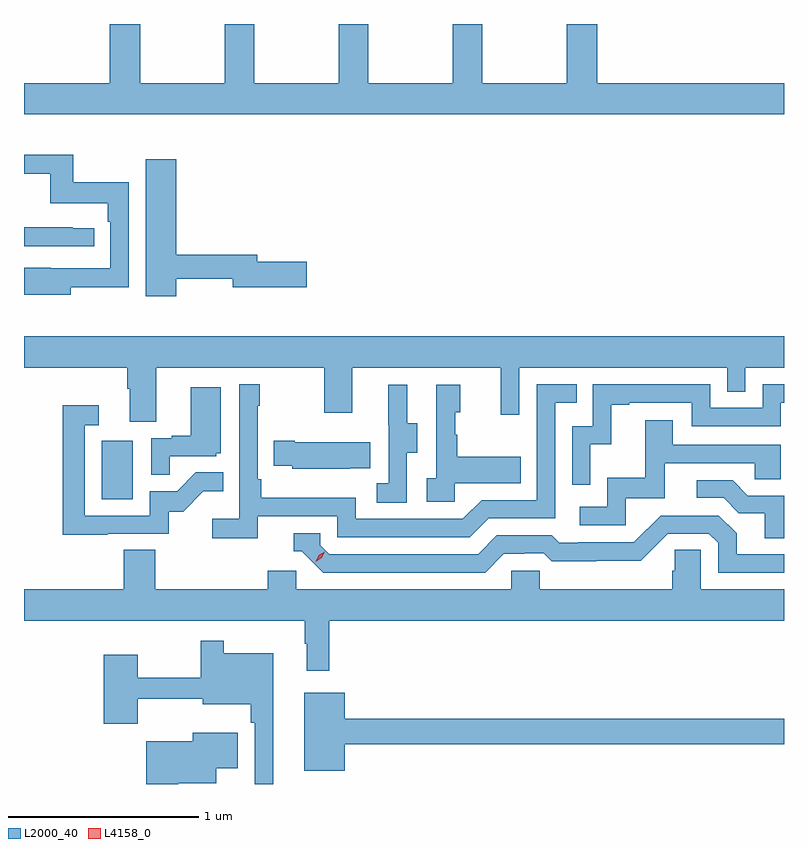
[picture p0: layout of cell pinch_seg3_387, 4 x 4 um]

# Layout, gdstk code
import gdstk
lib = gdstk.Library(unit=1e-6, precision=1e-09)
def R(c, l, rs):  # rectangles x0, y0, x1, y1
    for r in rs: c.add(gdstk.rectangle(r[:2], r[2:], *l))
def P(c, l, *ps):  # polygons
    for p in ps: c.add(gdstk.Polygon(p, *l))
L2000_40 = (2000, 40)
L4158_0 = (4158, 0)

pinch_seg3_387 = lib.new_cell('pinch_seg3_387')
R(pinch_seg3_387, L2000_40, [(926.114,706.884,926.278,707.191)])
P(pinch_seg3_387, L2000_40, [(929.705,709.072),(928.721,709.072),(928.721,709.384),(928.561,709.384),(928.561,709.072),(928.116,709.072),(928.116,709.384),(927.961,709.384),(927.961,709.072),(927.516,709.072),(927.516,709.384),(927.361,709.384),(927.361,709.072),(926.916,709.072),(926.916,709.384),(926.761,709.384),(926.761,709.072),(926.316,709.072),(926.316,709.384),(926.156,709.384),(926.156,709.072),(925.705,709.072),(925.705,708.908),(929.705,708.908)],
  [(925.951,707.998),(926.256,707.998),(926.256,708.55),(925.963,708.55),(925.963,708.696),(925.705,708.696),(925.705,708.595),(925.842,708.595),(925.842,708.44),(926.147,708.44),(926.147,708.344),(926.16,708.344),(926.16,708.099),(925.847,708.099),(925.847,708.1),(925.705,708.1),(925.705,707.96),(925.951,707.96)],
  [(926.506,708.042),(926.804,708.042),(926.804,707.999),(927.193,707.999),(927.193,708.134),(926.932,708.134),(926.932,708.17),(926.506,708.17),(926.506,708.673),(926.345,708.673),(926.345,707.952),(926.506,707.952)],
  [(926.074,708.309),(925.961,708.309),(925.961,708.314),(925.705,708.314),(925.705,708.213),(926.074,708.213)],
  [(925.705,707.576),(926.249,707.576),(926.249,707.464),(926.261,707.464),(926.261,707.29),(926.401,707.29),(926.401,707.576),(927.286,707.576),(927.286,707.337),(927.433,707.337),(927.433,707.576),(928.214,707.576),(928.214,707.328),(928.311,707.328),(928.311,707.576),(929.406,707.576),(929.406,707.449),(929.502,707.449),(929.502,707.576),(929.705,707.576),(929.705,707.74),(925.705,707.74)],
  [(926.936,706.794),(927.354,706.794),(927.354,706.683),(928.051,706.683),(928.15,706.782),(928.5,706.782),(928.5,707.391),(928.613,707.391),(928.613,707.487),(928.404,707.487),(928.404,706.878),(928.113,706.878),(928.014,706.779),(927.45,706.779),(927.45,706.891),(926.954,706.891),(926.954,706.987),(926.934,706.987),(926.934,707.375),(926.947,707.375),(926.947,707.488),(926.838,707.488),(926.838,706.78),(926.697,706.78),(926.697,706.678),(926.936,706.678)],
  [(928.686,707.171),(928.796,707.171),(928.796,707.379),(928.891,707.379),(928.891,707.391),(929.22,707.391),(929.22,707.268),(929.688,707.268),(929.688,707.391),(929.705,707.391),(929.705,707.487),(929.592,707.487),(929.592,707.364),(929.316,707.364),(929.316,707.487),(928.698,707.487),(928.698,707.268),(928.59,707.268),(928.59,706.959),(928.686,706.959)],
  [(927.972,706.967),(928.319,706.967),(928.319,707.107),(927.985,707.107),(927.985,707.222),(927.975,707.222),(927.975,707.34),(928,707.34),(928,707.485),(927.876,707.485),(927.876,706.994),(927.825,706.994),(927.825,706.869),(927.972,706.869)],
  [(927.72,707.128),(927.775,707.128),(927.775,707.283),(927.721,707.283),(927.721,707.485),(927.623,707.485),(927.623,707.271),(927.624,707.271),(927.624,706.967),(927.561,706.967),(927.561,706.864),(927.72,706.864)],
  [(926.471,707.109),(926.718,707.109),(926.718,707.124),(926.74,707.124),(926.74,707.473),(926.582,707.473),(926.582,707.218),(926.483,707.218),(926.483,707.205),(926.376,707.205),(926.376,707.011),(926.471,707.011)],
  [(926.147,706.701),(926.466,706.701),(926.466,706.818),(926.542,706.818),(926.649,706.925),(926.753,706.925),(926.753,707.024),(926.609,707.024),(926.511,706.926),(926.367,706.926),(926.367,706.797),(926.025,706.797),(926.025,707.271),(926.098,707.271),(926.098,707.377),(925.909,707.377),(925.909,706.696),(926.147,706.696)],
  [(928.872,706.887),(929.077,706.887),(929.077,707.073),(929.551,707.073),(929.551,706.989),(929.688,706.989),(929.688,707.169),(929.119,707.169),(929.119,707.299),(928.975,707.299),(928.975,706.996),(928.776,706.996),(928.776,706.842),(928.629,706.842),(928.629,706.746),(928.872,706.746)],
  [(927.419,707.045),(927.527,707.045),(927.527,707.182),(927.13,707.182),(927.13,707.19),(927.019,707.19),(927.019,707.06),(927.117,707.06),(927.117,707.042),(927.419,707.042)],
  [(929.705,706.902),(929.515,706.902),(929.434,706.983),(929.247,706.983),(929.247,706.89),(929.388,706.89),(929.468,706.81),(929.603,706.81),(929.603,706.678),(929.705,706.678)],
  [(928.231,706.596),(928.338,706.596),(928.338,706.599),(928.441,706.599),(928.483,706.557),(928.716,706.557),(928.716,706.559),(928.952,706.559),(929.094,706.701),(929.31,706.701),(929.358,706.653),(929.358,706.497),(929.705,706.497),(929.705,706.593),(929.455,706.593),(929.455,706.703),(929.361,706.797),(929.055,706.797),(928.914,706.656),(928.621,706.656),(928.621,706.653),(928.522,706.653),(928.483,706.692),(928.194,706.692),(928.095,706.593),(927.312,706.593),(927.264,706.641),(927.264,706.704),(927.125,706.704),(927.125,706.608),(927.168,706.608),(927.279,706.497),(928.132,706.497)],
  [(927.311,706.244),(929.705,706.244),(929.705,706.408),(929.268,706.408),(929.268,706.616),(929.131,706.616),(929.131,706.506),(929.117,706.506),(929.117,706.408),(928.419,706.408),(928.419,706.506),(928.269,706.506),(928.269,706.408),(927.138,706.408),(927.138,706.506),(926.987,706.506),(926.987,706.408),(926.396,706.408),(926.396,706.616),(926.231,706.616),(926.231,706.408),(925.705,706.408),(925.705,706.244),(927.183,706.244),(927.183,706.121),(927.194,706.121),(927.194,705.981),(927.311,705.981)],
  [(927.016,706.072),(926.755,706.072),(926.755,706.138),(926.634,706.138),(926.634,705.943),(926.304,705.943),(926.304,706.063),(926.126,706.063),(926.126,705.702),(926.304,705.702),(926.304,705.832),(926.645,705.832),(926.645,705.803),(926.899,705.803),(926.899,705.707),(926.919,705.707),(926.919,705.384),(927.016,705.384)],
  [(927.394,705.592),(929.705,705.592),(929.705,705.728),(927.394,705.728),(927.394,705.865),(927.179,705.865),(927.179,705.455),(927.394,705.455)],
  [(926.518,705.389),(926.716,705.389),(926.716,705.467),(926.83,705.467),(926.83,705.655),(926.594,705.655),(926.594,705.61),(926.348,705.61),(926.348,705.384),(926.518,705.384)])
P(pinch_seg3_387, L4158_0, [(927.241,706.555),(927.241,706.555),(927.257,706.588),(927.287,706.607),(927.288,706.607),(927.288,706.607),(927.272,706.574),(927.241,706.555)])

lib.write_gds('pinch_seg3_387.gds')
